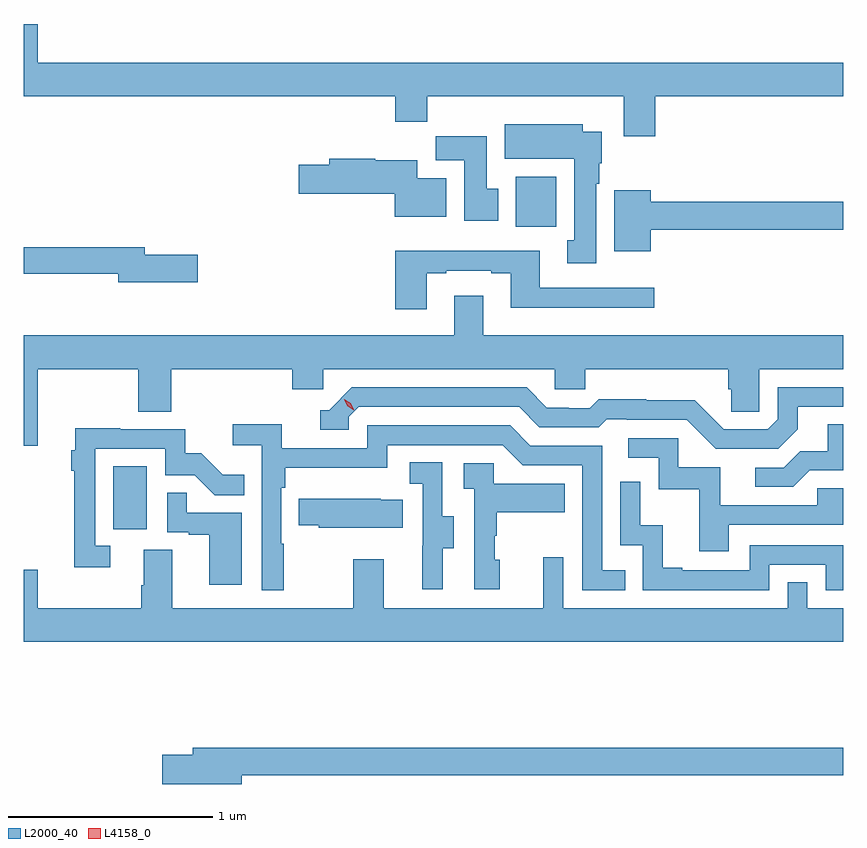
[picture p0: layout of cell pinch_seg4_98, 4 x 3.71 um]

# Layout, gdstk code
import gdstk
lib = gdstk.Library(unit=1e-6, precision=1e-09)
def R(c, l, rs):  # rectangles x0, y0, x1, y1
    for r in rs: c.add(gdstk.rectangle(r[:2], r[2:], *l))
def P(c, l, *ps):  # polygons
    for p in ps: c.add(gdstk.Polygon(p, *l))
L2000_40 = (2000, 40)
L4158_0 = (4158, 0)

pinch_seg4_98 = lib.new_cell('pinch_seg4_98')
R(pinch_seg4_98, L2000_40, [(1064.642,809.358,1064.806,809.665), (1066.607,810.836,1066.804,811.078)])
P(pinch_seg4_98, L2000_40, [(1067.288,811.472),(1068.205,811.472),(1068.205,811.636),(1064.272,811.636),(1064.272,811.825),(1064.205,811.825),(1064.205,811.472),(1066.019,811.472),(1066.019,811.348),(1066.175,811.348),(1066.175,811.472),(1067.135,811.472),(1067.135,811.278),(1067.288,811.278)],
  [(1066.999,811.046),(1067.014,811.046),(1067.014,811.146),(1067.026,811.146),(1067.026,811.3),(1066.933,811.3),(1066.933,811.336),(1066.553,811.336),(1066.553,811.166),(1066.892,811.166),(1066.892,810.77),(1066.859,810.77),(1066.859,810.657),(1066.999,810.657)],
  [(1066.522,811.02),(1066.465,811.02),(1066.465,811.278),(1066.216,811.278),(1066.216,811.16),(1066.355,811.16),(1066.355,810.864),(1066.522,810.864)],
  [(1066.267,811.072),(1066.126,811.072),(1066.126,811.159),(1065.92,811.159),(1065.92,811.167),(1065.695,811.167),(1065.695,811.137),(1065.546,811.137),(1065.546,810.995),(1066.016,810.995),(1066.016,810.884),(1066.267,810.884)],
  [(1067.266,810.82),(1068.205,810.82),(1068.205,810.956),(1067.266,810.956),(1067.266,811.012),(1067.087,811.012),(1067.087,810.716),(1067.266,810.716)],
  [(1065.055,810.698),(1064.794,810.698),(1064.794,810.734),(1064.205,810.734),(1064.205,810.606),(1064.666,810.606),(1064.666,810.563),(1065.055,810.563)],
  [(1066.171,810.609),(1066.267,810.609),(1066.267,810.621),(1066.487,810.621),(1066.487,810.609),(1066.583,810.609),(1066.583,810.44),(1067.284,810.44),(1067.284,810.537),(1066.723,810.537),(1066.723,810.718),(1066.019,810.718),(1066.019,810.432),(1066.171,810.432)],
  [(1064.272,810.14),(1064.764,810.14),(1064.764,809.932),(1064.924,809.932),(1064.924,810.14),(1065.515,810.14),(1065.515,810.042),(1065.666,810.042),(1065.666,810.14),(1066.797,810.14),(1066.797,810.042),(1066.947,810.042),(1066.947,810.14),(1067.645,810.14),(1067.645,810.042),(1067.659,810.042),(1067.659,809.932),(1067.796,809.932),(1067.796,810.14),(1068.205,810.14),(1068.205,810.304),(1066.447,810.304),(1066.447,810.499),(1066.307,810.499),(1066.307,810.304),(1064.205,810.304),(1064.205,809.766),(1064.272,809.766)],
  [(1067.983,809.845),(1067.983,809.955),(1068.205,809.955),(1068.205,810.051),(1067.886,810.051),(1067.886,809.895),(1067.838,809.847),(1067.622,809.847),(1067.48,809.989),(1067.244,809.989),(1067.244,809.992),(1067.011,809.992),(1066.969,809.949),(1066.866,809.949),(1066.866,809.952),(1066.759,809.952),(1066.66,810.051),(1065.807,810.051),(1065.696,809.94),(1065.653,809.94),(1065.653,809.844),(1065.792,809.844),(1065.792,809.907),(1065.84,809.955),(1066.623,809.955),(1066.722,809.856),(1067.011,809.856),(1067.05,809.895),(1067.149,809.895),(1067.149,809.892),(1067.442,809.892),(1067.583,809.751),(1067.889,809.751)],
  [(1065.475,809.288),(1065.462,809.288),(1065.462,809.561),(1065.482,809.561),(1065.482,809.657),(1065.978,809.657),(1065.978,809.769),(1066.542,809.769),(1066.641,809.67),(1066.932,809.67),(1066.932,809.061),(1067.141,809.061),(1067.141,809.157),(1067.028,809.157),(1067.028,809.766),(1066.678,809.766),(1066.579,809.865),(1065.882,809.865),(1065.882,809.754),(1065.464,809.754),(1065.464,809.87),(1065.225,809.87),(1065.225,809.768),(1065.366,809.768),(1065.366,809.061),(1065.475,809.061)],
  [(1068.043,809.646),(1068.205,809.646),(1068.205,809.87),(1068.131,809.87),(1068.131,809.738),(1067.996,809.738),(1067.916,809.658),(1067.775,809.658),(1067.775,809.565),(1067.962,809.565)],
  [(1064.626,809.277),(1064.553,809.277),(1064.553,809.751),(1064.895,809.751),(1064.895,809.622),(1065.039,809.622),(1065.137,809.524),(1065.281,809.524),(1065.281,809.623),(1065.177,809.623),(1065.07,809.73),(1064.994,809.73),(1064.994,809.847),(1064.675,809.847),(1064.675,809.852),(1064.456,809.852),(1064.456,809.744),(1064.437,809.744),(1064.437,809.644),(1064.452,809.644),(1064.452,809.172),(1064.626,809.172)],
  [(1067.647,809.379),(1068.205,809.379),(1068.205,809.559),(1068.079,809.559),(1068.079,809.475),(1067.605,809.475),(1067.605,809.661),(1067.4,809.661),(1067.4,809.802),(1067.157,809.802),(1067.157,809.706),(1067.304,809.706),(1067.304,809.553),(1067.503,809.553),(1067.503,809.25),(1067.647,809.25)],
  [(1066.249,809.266),(1066.303,809.266),(1066.303,809.421),(1066.248,809.421),(1066.248,809.684),(1066.089,809.684),(1066.089,809.581),(1066.152,809.581),(1066.152,809.277),(1066.151,809.277),(1066.151,809.064),(1066.249,809.064)],
  [(1066.528,809.208),(1066.503,809.208),(1066.503,809.327),(1066.513,809.327),(1066.513,809.441),(1066.847,809.441),(1066.847,809.581),(1066.5,809.581),(1066.5,809.679),(1066.353,809.679),(1066.353,809.555),(1066.404,809.555),(1066.404,809.064),(1066.528,809.064)],
  [(1067.844,809.184),(1068.12,809.184),(1068.12,809.061),(1068.205,809.061),(1068.205,809.28),(1067.748,809.28),(1067.748,809.157),(1067.419,809.157),(1067.419,809.17),(1067.324,809.17),(1067.324,809.378),(1067.214,809.378),(1067.214,809.59),(1067.118,809.59),(1067.118,809.28),(1067.226,809.28),(1067.226,809.061),(1067.844,809.061)],
  [(1065.268,809.439),(1064.999,809.439),(1064.999,809.537),(1064.904,809.537),(1064.904,809.343),(1065.011,809.343),(1065.011,809.331),(1065.11,809.331),(1065.11,809.088),(1065.268,809.088)],
  [(1066.055,809.503),(1065.947,809.503),(1065.947,809.506),(1065.547,809.506),(1065.547,809.377),(1065.645,809.377),(1065.645,809.366),(1066.055,809.366)],
  [(1068.205,808.972),(1068.03,808.972),(1068.03,809.099),(1067.934,809.099),(1067.934,808.972),(1066.839,808.972),(1066.839,809.221),(1066.742,809.221),(1066.742,808.972),(1065.961,808.972),(1065.961,809.212),(1065.814,809.212),(1065.814,808.972),(1064.929,808.972),(1064.929,809.258),(1064.789,809.258),(1064.789,809.084),(1064.777,809.084),(1064.777,808.972),(1064.272,808.972),(1064.272,809.161),(1064.205,809.161),(1064.205,808.808),(1068.205,808.808)],
  [(1065.268,808.156),(1068.205,808.156),(1068.205,808.292),(1065.029,808.292),(1065.029,808.256),(1064.88,808.256),(1064.88,808.114),(1065.268,808.114)])
P(pinch_seg4_98, L4158_0, [(1065.816,809.94),(1065.785,809.96),(1065.769,809.993),(1065.769,809.993),(1065.769,809.993),(1065.8,809.974),(1065.816,809.941),(1065.816,809.94)])

lib.write_gds('pinch_seg4_98.gds')
